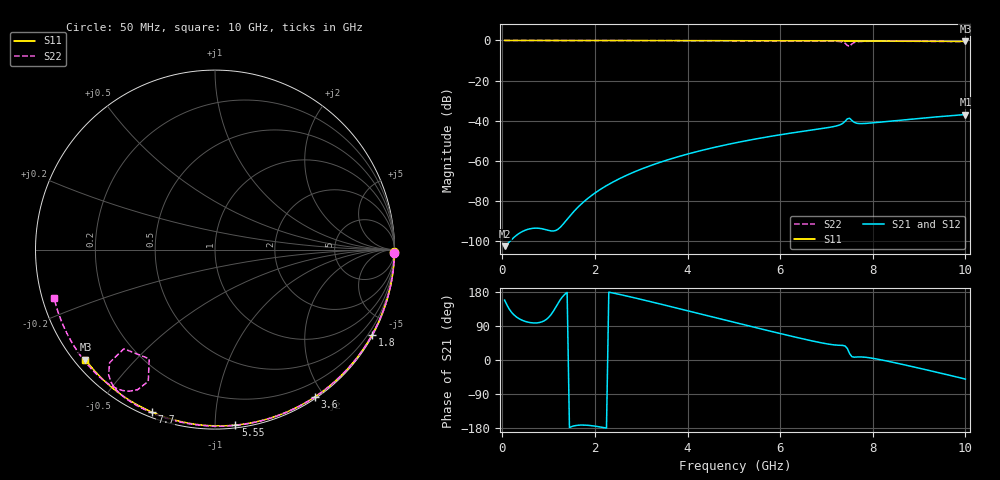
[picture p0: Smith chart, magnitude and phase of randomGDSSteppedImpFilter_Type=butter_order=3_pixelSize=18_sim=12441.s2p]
! freq	dB(S11)	phase(S11)	dB(S12)	phase(S12)
!  dB(S21)	phase(S21)	dB(S22)	phase(S22)
!S-par simulation data
#  GHz  S  DB  R 50
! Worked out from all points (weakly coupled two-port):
!   200 points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, 50 MHz to 10 GHz, reference 50 ohm
!   highest |S21| = -36.86 dB at 10 GHz (marker M1); lowest = -102.3 dB at 50 MHz (marker M2)
!   lowest |S11| = -0.5 dB at 10 GHz (marker M3), VSWR 36.67, Z = 1.55 - j18.3 ohm
!   |S11| at or under -10 dB: nowhere
!   |S22| runs from -3.0 to 0.0 dB; largest |S21 - S12| = 0
!   S11 on the Smith chart (normalised r, x): 50 MHz: open; 1.8 GHz: 0.03, -3.92; 3.6 GHz: 0.02, -1.88; 5.55 GHz: 0.02, -1.12; 7.7 GHz: 0.02, -0.68; 10 GHz: 0.03, -0.37
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0.05  -0.00 -0.8  -102.35 158.1  -102.35 158.1  -0.00 -0.9
0.85  -0.02 -13.7  -93.65 100.5  -93.65 100.5  -0.02 -15.8
1.75  -0.04 -27.9  -80.45 -171.7  -80.45 -171.7  -0.04 -32.1
1.8  -0.04 -28.6  -79.46 -171.9  -79.46 -171.9  -0.04 -33.0
2.1  -0.04 -33.3  -74.37 -176.4  -74.37 -176.4  -0.05 -38.4
2.5  -0.05 -39.4  -69.12 173.9  -69.12 173.9  -0.06 -45.4
3.4  -0.07 -53.0  -60.68 148.1  -60.68 148.1  -0.08 -61.0
3.6  -0.08 -55.9  -59.20 142.1  -59.20 142.1  -0.09 -64.4
5.05  -0.12 -76.6  -50.86 98.2  -50.86 98.2  -0.14 -88.2
5.55  -0.14 -83.4  -48.68 83.2  -48.68 83.2  -0.16 -96.2
6.7  -0.19 -98.6  -44.50 50.1  -44.50 50.1  -0.24 -114.7
7.25  -0.22 -105.7  -42.30 39.0  -42.30 39.0  -0.44 -126.3
7.4  -0.23 -107.6  -40.30 37.1  -40.30 37.1  -1.30 -133.0
7.45  -0.24 -108.2  -39.01 30.6  -39.01 30.6  -2.50 -132.6
7.5  -0.24 -108.8  -38.72 16.9  -38.72 16.9  -2.97 -121.1
7.55  -0.24 -109.5  -39.85 8.7  -39.85 8.7  -1.69 -116.9
7.6  -0.25 -110.1  -40.74 7.5  -40.74 7.5  -0.99 -118.9
7.7  -0.26 -111.4  -41.33 8.2  -41.33 8.2  -0.56 -123.1
7.95  -0.27 -114.5  -41.09 5.5  -41.09 5.5  -0.39 -129.4
8.35  -0.31 -119.5  -40.21 -3.9  -40.21 -3.9  -0.38 -136.6
9.15  -0.38 -129.3  -38.48 -25.7  -38.48 -25.7  -0.46 -149.5
10  -0.47 -139.7  -36.86 -50.3  -36.86 -50.3  -0.57 -163.2
